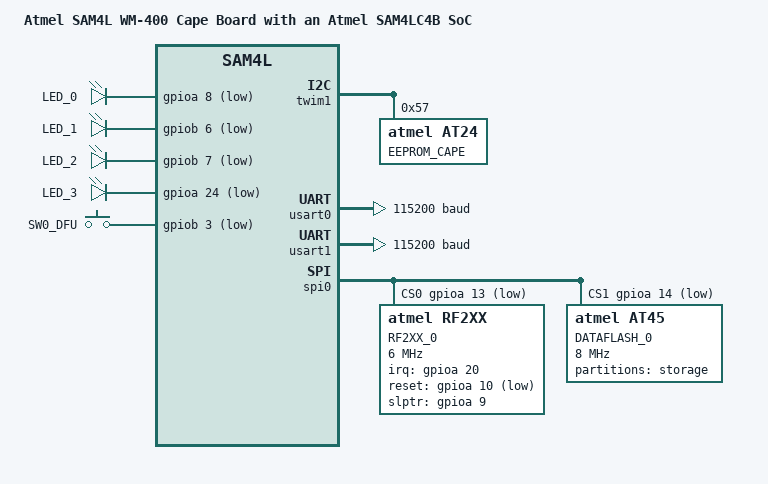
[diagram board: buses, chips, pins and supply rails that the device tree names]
/*
 * Copyright (c) 2020 Gerson Fernando Budke <nandojve@gmail.com>
 * SPDX-License-Identifier: Apache-2.0
 */

/dts-v1/;

#include <atmel/sam4lx4.dtsi>

/ {
	model = "Atmel SAM4L WM-400 Cape Board with an Atmel SAM4LC4B SoC";
	compatible = "peregrine,sam4l_wm400_cape", "atmel,sam4lc4b", "atmel,sam4l";

	aliases {
		led0 = &red_mod_led;
		led1 = &green_mod_led;
		led2 = &blue_mod_led;
		led3 = &red_cape_led;
		sw0 = &sw0_dfu;
	};

	chosen {
		zephyr,console = &usart0;
		zephyr,shell-uart = &usart0;
		zephyr,sram = &sram0;
		zephyr,flash = &flash0;
		zephyr,code-partition= &code_partition;
	};

	leds {
		compatible = "gpio-leds";

		red_mod_led: led_0 {
			gpios = <&gpioa 8 GPIO_ACTIVE_LOW>;
			label = "LED_0";
		};
		green_mod_led: led_1 {
			gpios = <&gpiob 6 GPIO_ACTIVE_LOW>;
			label = "LED_1";
		};
		blue_mod_led: led_2 {
			gpios = <&gpiob 7 GPIO_ACTIVE_LOW>;
			label = "LED_2";
		};
		red_cape_led: led_3 {
			gpios = <&gpioa 24 GPIO_ACTIVE_LOW>;
			label = "LED_3";
		};
	};

	gpio_keys {
		compatible = "gpio-keys";

		sw0_dfu: button_1 {
			gpios = <&gpiob 3 (GPIO_ACTIVE_LOW)>;
			label = "SW0_DFU";
		};
	};
};

&cpu0 {
	clock-frequency = <48000000>;
};

&twim1 {
	status = "okay";

	std-clk-slew-lim = <0>;
	std-clk-strength-low = "0.5";
	std-data-slew-lim = <0>;
	std-data-strength-low = "0.5";

	hs-clk-slew-lim = <0>;
	hs-clk-strength-high = "0.5";
	hs-clk-strength-low = "0.5";
	hs-data-slew-lim = <0>;
	hs-data-strength-low = "0.5";

	hs-master-code = <0>;

	eeprom1: eeprom@57 {
		compatible = "atmel,at24";
		reg = <0x57>;
		label = "EEPROM_CAPE";
		size = <32768>;
		pagesize = <64>;
		address-width = <16>;
		timeout = <5>;
	};
};

&usart0 {
	current-speed = <115200>;
	pinctrl-0 = <&pb14a_usart0_rxd0 &pb15a_usart0_txd0>;
	status = "okay";
};

&usart1 {
	current-speed = <115200>;
	pinctrl-0 = <&pa15a_usart1_rxd1 &pa16a_usart1_txd1>;
	status = "okay";
};

&spi0 {
	status = "okay";
	label = "SPI_RF2XX";
	pinctrl-0 = <&pa21a_spi_miso
		     &pa22a_spi_mosi
		     &pa23a_spi_sck
		     &pa13c_spi_npcs1
		     &pa14c_spi_npcs2>;
	cs-gpios = <&gpioa 13 (GPIO_PULL_UP | GPIO_ACTIVE_LOW)
		    &gpioa 14 (GPIO_PULL_UP | GPIO_ACTIVE_LOW)>;

	rf2xx@0 {
		compatible = "atmel,rf2xx";
		reg = <0x0>;
		label = "RF2XX_0";
		spi-max-frequency = <6000000>;
		irq-gpios = <&gpioa 20 (GPIO_PULL_DOWN | GPIO_ACTIVE_HIGH)>;
		reset-gpios = <&gpioa 10 GPIO_ACTIVE_LOW>;
		slptr-gpios = <&gpioa 9 GPIO_ACTIVE_HIGH>;
		status = "okay";
	};

	at45db: at45db081d@1 {
		compatible = "atmel,at45";
		reg = <1>;
		spi-max-frequency = <8000000>;
		label = "DATAFLASH_0";
		jedec-id = [1f 25 00];
		size = <8388608>;
		sector-size = <65536>;
		block-size = <2048>;
		page-size = <256>;
		enter-dpd-delay = <3000>;
		exit-dpd-delay = <35000>;
	};
};

&flash0 {
	partitions {
		compatible = "fixed-partitions";
		#address-cells = <1>;
		#size-cells = <1>;

		boot_partition: partition@0 {
			label = "sam-ba";
			reg = <0x000000000 0x00004000>;
		};
		code_partition: partition@4000 {
			label = "image";
			reg = <0x00004000 0x0003c000>;
		};
	};
};

&at45db {
	partitions {
		compatible = "fixed-partitions";
		#address-cells = <1>;
		#size-cells = <1>;

		storage_partition: partition@0 {
			label = "storage";
			reg = <0x00000000 0x00100000>;
		};
	};
};
